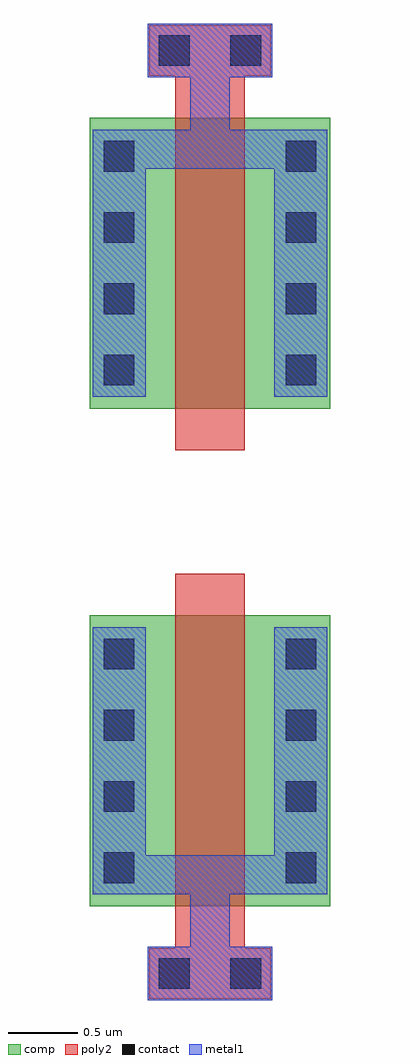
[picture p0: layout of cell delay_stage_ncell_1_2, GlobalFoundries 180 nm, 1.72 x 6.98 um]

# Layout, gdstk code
import gdstk
lib = gdstk.Library(unit=1e-6, precision=5e-09)
def R(c, l, rs):  # rectangles x0, y0, x1, y1
    for r in rs: c.add(gdstk.rectangle(r[:2], r[2:], *l))
def A(c, l, x, y, w, h, nx, ny, dx, dy):  # array of equal rectangles
    R(c, l, [(x+i*dx, y+j*dy, x+i*dx+w, y+j*dy+h) for i in range(nx) for j in range(ny)])
comp = (22, 0)
poly2 = (30, 0)
contact = (33, 0)
metal1 = (34, 0)

delay_stage_ncell_1_1_1 = lib.new_cell('delay_stage_ncell_1$1$1')
R(delay_stage_ncell_1_1_1, comp, [(0,0.3,0.42,2.38), (0.42,0.3,1.3,2.38), (1.3,0.3,1.72,2.38)])
R(delay_stage_ncell_1_1_1, poly2, [(0.61,0,1.11,2.68)])
A(delay_stage_ncell_1_1_1, contact, 0.1, 0.465, 0.22, 0.22, 1, 4, 0, 0.51)
A(delay_stage_ncell_1_1_1, contact, 1.4, 0.465, 0.22, 0.22, 1, 4, 0, 0.51)
R(delay_stage_ncell_1_1_1, metal1, [(0.02,0.385,0.4,2.295), (1.32,0.385,1.7,2.295)])

delay_stage_ncell_1_2 = lib.new_cell('delay_stage_ncell_1_2')
R(delay_stage_ncell_1_2, poly2, [(0.425,0.01,1.295,0.37), (0.425,6.61,1.295,6.97)])
R(delay_stage_ncell_1_2, contact, [(0.495,0.08,0.715,0.3), (1.005,0.08,1.225,0.3), (0.495,6.68,0.715,6.9), (1.005,6.68,1.225,6.9)])
R(delay_stage_ncell_1_2, metal1, [(0.415,0,1.305,0.38), (0.415,6.6,1.305,6.98)])
delay_stage_ncell_1_2.add(gdstk.FlexPath([(0.4,6.085),(1.32,6.085)], 0.28, ends="flush", simple_path=True, layer=34, datatype=0))  # metal1
delay_stage_ncell_1_2.add(gdstk.FlexPath([(0.86,6.6),(0.86,6.225)], 0.28, ends="flush", simple_path=True, layer=34, datatype=0))  # metal1
delay_stage_ncell_1_2.add(gdstk.FlexPath([(0.4,0.895),(1.32,0.895)], 0.28, ends="flush", simple_path=True, layer=34, datatype=0))  # metal1
delay_stage_ncell_1_2.add(gdstk.FlexPath([(0.86,0.38),(0.86,0.755)], 0.28, ends="flush", simple_path=True, layer=34, datatype=0))  # metal1
delay_stage_ncell_1_2.add(gdstk.Reference(delay_stage_ncell_1_1_1, (0,3.93)))
delay_stage_ncell_1_2.add(gdstk.Reference(delay_stage_ncell_1_1_1, (0,3.05), x_reflection=True))

lib.write_gds('delay_stage_ncell_1_2.gds')
